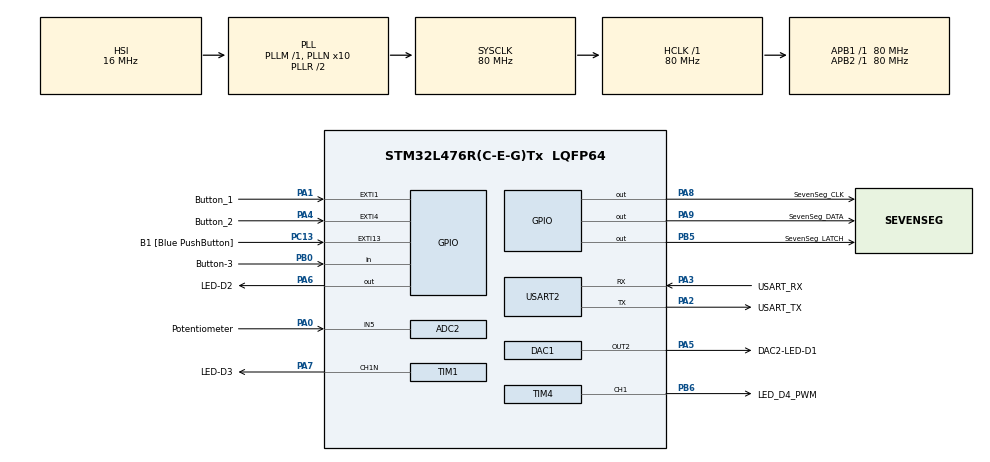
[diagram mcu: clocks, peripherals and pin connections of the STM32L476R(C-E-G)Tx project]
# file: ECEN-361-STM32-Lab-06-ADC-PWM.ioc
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ADC2.Channel-0\#ChannelRegularConversion=ADC_CHANNEL_5
ADC2.ContinuousConvMode=DISABLE
ADC2.NbrOfConversionFlag=1
ADC2.OffsetNumber-0\#ChannelRegularConversion=ADC_OFFSET_NONE
ADC2.Rank-0\#ChannelRegularConversion=1
ADC2.Resolution=ADC_RESOLUTION_6B
ADC2.SamplingTime-0\#ChannelRegularConversion=ADC_SAMPLETIME_2CYCLES_5
DAC1.DAC_Channel-DAC_OUT2=DAC_CHANNEL_2
FREERTOS.Tasks01=defaultTask,24,512,StartDefaultTask,Default,NULL,Dynamic,NULL,NULL
FREERTOS.configTOTAL_HEAP_SIZE=50000
FREERTOS.configUSE_NEWLIB_REENTRANT=1
Mcu.Family=STM32L4
Mcu.Name=STM32L476R(C-E-G)Tx
Mcu.Package=LQFP64
NVIC.EXTI15_10_IRQn=true\:5\:0\:false\:false\:true\:true\:true\:true\:true
NVIC.EXTI1_IRQn=true\:5\:0\:false\:false\:true\:true\:true\:true\:true
NVIC.EXTI4_IRQn=true\:5\:0\:false\:false\:true\:true\:true\:true\:true
NVIC.PriorityGroup=NVIC_PRIORITYGROUP_4
NVIC.TIM1_TRG_COM_TIM17_IRQn=true\:5\:0\:false\:false\:true\:true\:true\:true\:true
NVIC.TIM2_IRQn=true\:15\:0\:false\:false\:true\:false\:false\:true\:true
NVIC.TimeBase=TIM2_IRQn
NVIC.TimeBaseIP=TIM2
PA0.GPIO_Label=Potentiometer
PA0.Signal=ADCx_IN5
PA1.GPIO_Label=Button_1
PA1.GPIO_ModeDefaultEXTI=GPIO_MODE_IT_FALLING
PA1.Signal=GPXTI1
PA13\ (JTMS-SWDIO).GPIO_Label=TMS
PA13\ (JTMS-SWDIO).Mode=Serial_Wire
PA13\ (JTMS-SWDIO).Signal=SYS_JTMS-SWDIO
PA14\ (JTCK-SWCLK).GPIO_Label=TCK
PA14\ (JTCK-SWCLK).Mode=Serial_Wire
PA14\ (JTCK-SWCLK).Signal=SYS_JTCK-SWCLK
PA2.GPIO_Label=USART_TX
PA2.GPIO_Mode=GPIO_MODE_AF_PP
PA2.GPIO_PuPd=GPIO_NOPULL
PA2.GPIO_Speed=GPIO_SPEED_FREQ_VERY_HIGH
PA2.Mode=Asynchronous
PA2.Signal=USART2_TX
PA3.GPIO_Label=USART_RX
PA3.GPIO_Mode=GPIO_MODE_AF_PP
PA3.GPIO_PuPd=GPIO_NOPULL
PA3.GPIO_Speed=GPIO_SPEED_FREQ_VERY_HIGH
PA3.Mode=Asynchronous
PA3.Signal=USART2_RX
PA4.GPIO_Label=Button_2
PA4.Signal=GPXTI4
PA5.GPIO_Label=DAC2-LED-D1
PA5.Signal=COMP_DAC12_group
PA6.GPIO_Label=LED-D2
PA6.GPIO_ModeDefaultOutputPP=GPIO_MODE_OUTPUT_OD
PA6.GPIO_PuPd=GPIO_PULLUP
PA6.Signal=GPIO_Output
PA7.GPIO_Label=LED-D3
PA7.GPIO_ModeDefaultPP=GPIO_MODE_AF_OD
PA7.GPIO_PuPd=GPIO_NOPULL
PA7.GPIO_Speed=GPIO_SPEED_FREQ_VERY_HIGH
PA7.Mode=PWM Generation1 CH1N
PA7.Signal=TIM1_CH1N
PA8.GPIO_Label=SevenSeg_CLK
PA8.Signal=GPIO_Output
PA9.GPIO_Label=SevenSeg_DATA
PA9.Signal=GPIO_Output
PB0.GPIO_Label=Button-3
PB0.Signal=GPIO_Input
PB3\ (JTDO-TRACESWO).Signal=SYS_JTDO-SWO
PB5.GPIO_Label=SevenSeg_LATCH
PB5.Signal=GPIO_Output
PB6.GPIO_FM6=SYSCFG_FASTMODEPLUS_PB6
PB6.GPIO_Label=LED_D4_PWM
PB6.GPIO_ModeDefaultPP=GPIO_MODE_AF_OD
PB6.GPIO_PuPd=GPIO_NOPULL
PB6.GPIO_Speed=GPIO_SPEED_FREQ_VERY_HIGH
PB6.Signal=S_TIM4_CH1
PC1.GPIO_Label=LM35_IN
PC1.Signal=ADCx_IN2
PC13.GPIO_Label=B1 [Blue PushButton]
PC13.GPIO_ModeDefaultEXTI=GPIO_MODE_IT_FALLING
PC13.GPIO_PuPd=GPIO_NOPULL
PC13.Signal=GPXTI13
PC14-OSC32_IN\ (PC14).Mode=LSE-External-Oscillator
PC14-OSC32_IN\ (PC14).Signal=RCC_OSC32_IN
PC15-OSC32_OUT\ (PC15).Mode=LSE-External-Oscillator
PC15-OSC32_OUT\ (PC15).Signal=RCC_OSC32_OUT
PH0-OSC_IN\ (PH0).Signal=RCC_OSC_IN
PH1-OSC_OUT\ (PH1).Signal=RCC_OSC_OUT
ProjectManager.HeapSize=0x200
ProjectManager.StackSize=0x400
ProjectManager.TargetToolchain=STM32CubeIDE
RCC.ADCFreq_Value=64000000
RCC.AHBFreq_Value=80000000
RCC.APB1Freq_Value=80000000
RCC.APB1TimFreq_Value=80000000
RCC.APB2Freq_Value=80000000
RCC.APB2TimFreq_Value=80000000
RCC.CortexFreq_Value=80000000
RCC.HCLKFreq_Value=80000000
RCC.HSE_VALUE=8000000
RCC.HSI_VALUE=16000000
RCC.MSI_VALUE=4000000
RCC.PLLN=10
RCC.PLLSourceVirtual=RCC_PLLSOURCE_HSI
RCC.PREFETCH_ENABLE=1
RCC.SYSCLKFreq_VALUE=80000000
RCC.SYSCLKSource=RCC_SYSCLKSOURCE_PLLCLK
RCC.USBFreq_Value=64000000
RCC.VCOOutputFreq_Value=160000000
SH.ADCx_IN2.0=ADC1_IN2
SH.ADCx_IN5.0=ADC2_IN5,IN5-Single-Ended
SH.COMP_DAC12_group.0=DAC1_OUT2,DAC_OUT2
SH.S_TIM4_CH1.0=TIM4_CH1,PWM Generation1 CH1
TIM1.Channel-PWM\ Generation1\ CH1N=TIM_CHANNEL_1
TIM1.OCNPolarity_1=TIM_OCNPOLARITY_HIGH
TIM1.Prescaler=8
TIM1.Pulse-PWM\ Generation1\ CH1N=16000
TIM17.Period=100
TIM17.Prescaler=800-1
TIM4.Channel-PWM\ Generation1\ CH1=TIM_CHANNEL_1
TIM4.OCFastMode_PWM-PWM\ Generation1\ CH1=TIM_OCFAST_DISABLE
TIM4.OCPolarity_1=TIM_OCPOLARITY_LOW
TIM4.Period=65535
TIM4.Prescaler=8
TIM4.Pulse-PWM\ Generation1\ CH1=16000
USART2.VirtualMode-Asynchronous=VM_ASYNC
VP_FREERTOS_VS_CMSIS_V2.Mode=CMSIS_V2
VP_SYS_VS_tim2.Mode=TIM2
VP_TIM17_VS_ClockSourceINT.Mode=Enable_Timer
VP_TIM4_VS_ClockSourceINT.Mode=Internal
board=NUCLEO-L476RG

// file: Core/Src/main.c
/* USER CODE BEGIN Header */
/**
  ******************************************************************************
  * @file           : main.c
  * @brief          : Main program body
  ******************************************************************************
  * @attention
  *
  * Copyright (c) 2023 STMicroelectronics.
  * All rights reserved.
  *
  * This software is licensed under terms that can be found in the LICENSE file
  * in the root directory of this software component.
  * If no LICENSE file comes with this software, it is provided AS-IS.
  *
  ******************************************************************************
  */
/* USER CODE END Header */
#include "main.h"
#include "cmsis_os.h"

/* USER CODE BEGIN Includes */
#include "MultiFunctionShield.h"
#include <stdio.h>
#include <stdbool.h>
#include <math.h>

/* USER CODE END Includes */

ADC_HandleTypeDef hadc2;

DAC_HandleTypeDef hdac1;

TIM_HandleTypeDef htim1;
TIM_HandleTypeDef htim4;
TIM_HandleTypeDef htim17;

UART_HandleTypeDef huart2;

/* Definitions for defaultTask */
osThreadId_t defaultTaskHandle;
const osThreadAttr_t defaultTask_attributes = {
  .name = "defaultTask",
  .stack_size = 512 * 4,
  .priority = (osPriority_t) osPriorityNormal,
};
/* USER CODE BEGIN PV */

const osThreadAttr_t bigStackTask_attributes = {
  .name = "bigStackTask",
  .stack_size = 2048 * 4,
  .priority = (osPriority_t) osPriorityNormal,
};

/* Here are pointers to the tasks so I can suspend/resume */

osThreadId_t ADC_Task_Handle;
osThreadId_t DAC_Task_Handle;
osThreadId_t PWM_Task_Handle;

/* USER CODE END PV */

void SystemClock_Config(void);
static void MX_GPIO_Init(void);
static void MX_USART2_UART_Init(void);
static void MX_TIM17_Init(void);
static void MX_TIM1_Init(void);
static void MX_TIM4_Init(void);
static void MX_ADC2_Init(void);
static void MX_DAC1_Init(void);
void StartDefaultTask(void *argument);

/* USER CODE BEGIN PFP */
/* Private function prototypes -----------------------------------------------*/
#define PUTCHAR_PROTOTYPE int __io_putchar(int ch)
void D2_Task(void *argument);
void PWM_Brightness_Task(void *argument);
void Sample_Print_POT_ADC_Task();
void Do_SevenSeg_Display();
void DAC_Cycle_Task();
// void Read_and_Transmit_Task();
// void Receive_and_Print_Task();

/* USER CODE END PFP */

/* USER CODE BEGIN 0 */
/*** Globals *********/
uint8_t RX_Buffer[BUFFER_SIZE] = {0};
typedef enum {ADC_mode,PWM_mode,DAC_mode} display_modes ;
display_modes display_mode = ADC_mode;
double ADC_voltage;
int  DAC_value = 4095;	// the value written to the DAC  -- set to 12-bit
bool Tasks_Running = true;
int duty_cycle_percent = 0;

/* USER CODE END 0 */

int main(void)
{

  /* MCU Configuration--------------------------------------------------------*/

  /* Reset of all peripherals, Initializes the Flash interface and the Systick. */
  HAL_Init();

  /* USER CODE BEGIN Init */
  // HAL_GPIO_WritePin(PWM_LED_GPIO_Port, PWM_LED_Pin, 1);
  // HAL_GPIO_WritePin(LED_D3_GPIO_Port,LED_D3_Pin,0);

  /* USER CODE END Init */

  /* Configure the system clock */
  SystemClock_Config();

  /* Initialize all configured peripherals */
  MX_GPIO_Init();
  MX_USART2_UART_Init();
  MX_TIM17_Init();
  MX_TIM1_Init();
  MX_TIM4_Init();
  MX_ADC2_Init();
  MX_DAC1_Init();
  /* USER CODE BEGIN 2 */

  // Start timer
  HAL_TIM_Base_Start_IT(&htim17);							// LED SevenSeg cycle thru them
  MultiFunctionShield_Clear();								// Clear the 7-seg display
  Clear_LEDs();												// Clear the lights
  printf("\033\143");
  printf("Welcome to ECEN-361 Lab-06\n\r\n\r");
  HAL_TIM_PWM_Start(&htim4, TIM_CHANNEL_1);		// Start the Timer with the PWM Assigned.
/**
 * Note that Timer-1 Channel 1 goes to our MultiBoard D3, and it's Negative True output
 *
 */

  /* USER CODE END 2 */

  /* Init scheduler */
  osKernelInitialize();

  /* Create the thread(s) */
  /* creation of defaultTask */
  defaultTaskHandle = osThreadNew(StartDefaultTask, NULL, &defaultTask_attributes);

  /* USER CODE BEGIN RTOS_THREADS */
  /* add threads, ... */
  osThreadNew(D2_Task, "D2_Task", &defaultTask_attributes);
  PWM_Task_Handle = osThreadNew(PWM_Brightness_Task, "PWM_Task", &defaultTask_attributes);
  ADC_Task_Handle = osThreadNew(Sample_Print_POT_ADC_Task, "ADC_Task", &bigStackTask_attributes);
  DAC_Task_Handle = osThreadNew(DAC_Cycle_Task, "DAC_Task", &defaultTask_attributes);
  osThreadNew(Do_SevenSeg_Display, "Display_Task", &defaultTask_attributes);

  /* USER CODE END RTOS_THREADS */

  /* Start scheduler */
  osKernelStart();

  /* We should never get here as control is now taken by the scheduler */

  /* Infinite loop */
  while (1)
  {

    /* USER CODE BEGIN 3 */
    // Read_and_Transmit_Task();

	// osDelay(500);
	/*
	HAL_GPIO_WritePin(SPI1_NSS_GPIO_Port, SPI1_NSS_Pin, 0);
	osDelay(5); // wait a bit before transmitting so the process can start the read
	HAL_SPI_Transmit(&hspi1, RX_Buffer, BUFFER_SIZE , HAL_MAX_DELAY);
	osDelay(5); // wait a bit before transmitting so the process can start the read
	HAL_GPIO_WritePin(SPI1_NSS_GPIO_Port, SPI1_NSS_Pin, 1);
	*/

	// Sample_Print_POT_ADC_Task();

		}

  /* USER CODE END 3 */
}

void SystemClock_Config(void)
{
  RCC_OscInitTypeDef RCC_OscInitStruct = {0};
  RCC_ClkInitTypeDef RCC_ClkInitStruct = {0};

  /** Configure the main internal regulator output voltage
  */
  if (HAL_PWREx_ControlVoltageScaling(PWR_REGULATOR_VOLTAGE_SCALE1) != HAL_OK)
  {
    Error_Handler();
  }

  /** Initializes the RCC Oscillators according to the specified parameters
  * in the RCC_OscInitTypeDef structure.
  */
  RCC_OscInitStruct.OscillatorType = RCC_OSCILLATORTYPE_HSI;
  RCC_OscInitStruct.HSIState = RCC_HSI_ON;
  RCC_OscInitStruct.HSICalibrationValue = RCC_HSICALIBRATION_DEFAULT;
  RCC_OscInitStruct.PLL.PLLState = RCC_PLL_ON;
  RCC_OscInitStruct.PLL.PLLSource = RCC_PLLSOURCE_HSI;
  RCC_OscInitStruct.PLL.PLLM = 1;
  RCC_OscInitStruct.PLL.PLLN = 10;
  RCC_OscInitStruct.PLL.PLLP = RCC_PLLP_DIV7;
  RCC_OscInitStruct.PLL.PLLQ = RCC_PLLQ_DIV2;
  RCC_OscInitStruct.PLL.PLLR = RCC_PLLR_DIV2;
  if (HAL_RCC_OscConfig(&RCC_OscInitStruct) != HAL_OK)
  {
    Error_Handler();
  }

  /** Initializes the CPU, AHB and APB buses clocks
  */
  RCC_ClkInitStruct.ClockType = RCC_CLOCKTYPE_HCLK|RCC_CLOCKTYPE_SYSCLK
                              |RCC_CLOCKTYPE_PCLK1|RCC_CLOCKTYPE_PCLK2;
  RCC_ClkInitStruct.SYSCLKSource = RCC_SYSCLKSOURCE_PLLCLK;
  RCC_ClkInitStruct.AHBCLKDivider = RCC_SYSCLK_DIV1;
  RCC_ClkInitStruct.APB1CLKDivider = RCC_HCLK_DIV1;
  RCC_ClkInitStruct.APB2CLKDivider = RCC_HCLK_DIV1;

  if (HAL_RCC_ClockConfig(&RCC_ClkInitStruct, FLASH_LATENCY_4) != HAL_OK)
  {
    Error_Handler();
  }
}

static void MX_ADC2_Init(void)
{

  ADC_ChannelConfTypeDef sConfig = {0};

  /** Common config
  */
  hadc2.Instance = ADC2;
  hadc2.Init.ClockPrescaler = ADC_CLOCK_ASYNC_DIV1;
  hadc2.Init.Resolution = ADC_RESOLUTION_6B;
  hadc2.Init.DataAlign = ADC_DATAALIGN_RIGHT;
  hadc2.Init.ScanConvMode = ADC_SCAN_DISABLE;
  hadc2.Init.EOCSelection = ADC_EOC_SINGLE_CONV;
  hadc2.Init.LowPowerAutoWait = DISABLE;
  hadc2.Init.ContinuousConvMode = DISABLE;
  hadc2.Init.NbrOfConversion = 1;
  hadc2.Init.DiscontinuousConvMode = DISABLE;
  hadc2.Init.ExternalTrigConv = ADC_SOFTWARE_START;
  hadc2.Init.ExternalTrigConvEdge = ADC_EXTERNALTRIGCONVEDGE_NONE;
  hadc2.Init.DMAContinuousRequests = DISABLE;
  hadc2.Init.Overrun = ADC_OVR_DATA_PRESERVED;
  hadc2.Init.OversamplingMode = DISABLE;
  if (HAL_ADC_Init(&hadc2) != HAL_OK)
  {
    Error_Handler();
  }

  /** Configure Regular Channel
  */
  sConfig.Channel = ADC_CHANNEL_5;
  sConfig.Rank = ADC_REGULAR_RANK_1;
  sConfig.SamplingTime = ADC_SAMPLETIME_2CYCLES_5;
  sConfig.SingleDiff = ADC_SINGLE_ENDED;
  sConfig.OffsetNumber = ADC_OFFSET_NONE;
  sConfig.Offset = 0;
  if (HAL_ADC_ConfigChannel(&hadc2, &sConfig) != HAL_OK)
  {
    Error_Handler();
  }

}

static void MX_DAC1_Init(void)
{

  DAC_ChannelConfTypeDef sConfig = {0};

  /** DAC Initialization
  */
  hdac1.Instance = DAC1;
  if (HAL_DAC_Init(&hdac1) != HAL_OK)
  {
    Error_Handler();
  }

  /** DAC channel OUT2 config
  */
  sConfig.DAC_SampleAndHold = DAC_SAMPLEANDHOLD_DISABLE;
  sConfig.DAC_Trigger = DAC_TRIGGER_NONE;
  sConfig.DAC_OutputBuffer = DAC_OUTPUTBUFFER_ENABLE;
  sConfig.DAC_ConnectOnChipPeripheral = DAC_CHIPCONNECT_DISABLE;
  sConfig.DAC_UserTrimming = DAC_TRIMMING_FACTORY;
  if (HAL_DAC_ConfigChannel(&hdac1, &sConfig, DAC_CHANNEL_2) != HAL_OK)
  {
    Error_Handler();
  }

}

static void MX_TIM1_Init(void)
{

  TIM_MasterConfigTypeDef sMasterConfig = {0};
  TIM_OC_InitTypeDef sConfigOC = {0};
  TIM_BreakDeadTimeConfigTypeDef sBreakDeadTimeConfig = {0};

  htim1.Instance = TIM1;
  htim1.Init.Prescaler = 8;
  htim1.Init.CounterMode = TIM_COUNTERMODE_UP;
  htim1.Init.Period = 65535;
  htim1.Init.ClockDivision = TIM_CLOCKDIVISION_DIV1;
  htim1.Init.RepetitionCounter = 0;
  htim1.Init.AutoReloadPreload = TIM_AUTORELOAD_PRELOAD_DISABLE;
  if (HAL_TIM_PWM_Init(&htim1) != HAL_OK)
  {
    Error_Handler();
  }
  sMasterConfig.MasterOutputTrigger = TIM_TRGO_RESET;
  sMasterConfig.MasterOutputTrigger2 = TIM_TRGO2_RESET;
  sMasterConfig.MasterSlaveMode = TIM_MASTERSLAVEMODE_DISABLE;
  if (HAL_TIMEx_MasterConfigSynchronization(&htim1, &sMasterConfig) != HAL_OK)
  {
    Error_Handler();
  }
  sConfigOC.OCMode = TIM_OCMODE_PWM1;
  sConfigOC.Pulse = 16000;
  sConfigOC.OCPolarity = TIM_OCPOLARITY_HIGH;
  sConfigOC.OCNPolarity = TIM_OCNPOLARITY_HIGH;
  sConfigOC.OCFastMode = TIM_OCFAST_DISABLE;
  sConfigOC.OCIdleState = TIM_OCIDLESTATE_RESET;
  sConfigOC.OCNIdleState = TIM_OCNIDLESTATE_RESET;
  if (HAL_TIM_PWM_ConfigChannel(&htim1, &sConfigOC, TIM_CHANNEL_1) != HAL_OK)
  {
    Error_Handler();
  }
  sBreakDeadTimeConfig.OffStateRunMode = TIM_OSSR_DISABLE;
  sBreakDeadTimeConfig.OffStateIDLEMode = TIM_OSSI_DISABLE;
  sBreakDeadTimeConfig.LockLevel = TIM_LOCKLEVEL_OFF;
  sBreakDeadTimeConfig.DeadTime = 0;
  sBreakDeadTimeConfig.BreakState = TIM_BREAK_DISABLE;
  sBreakDeadTimeConfig.BreakPolarity = TIM_BREAKPOLARITY_HIGH;
  sBreakDeadTimeConfig.BreakFilter = 0;
  sBreakDeadTimeConfig.Break2State = TIM_BREAK2_DISABLE;
  sBreakDeadTimeConfig.Break2Polarity = TIM_BREAK2POLARITY_HIGH;
  sBreakDeadTimeConfig.Break2Filter = 0;
  sBreakDeadTimeConfig.AutomaticOutput = TIM_AUTOMATICOUTPUT_DISABLE;
  if (HAL_TIMEx_ConfigBreakDeadTime(&htim1, &sBreakDeadTimeConfig) != HAL_OK)
  {
    Error_Handler();
  }
  HAL_TIM_MspPostInit(&htim1);

}

static void MX_TIM4_Init(void)
{

  TIM_ClockConfigTypeDef sClockSourceConfig = {0};
  TIM_MasterConfigTypeDef sMasterConfig = {0};
  TIM_OC_InitTypeDef sConfigOC = {0};

  htim4.Instance = TIM4;
  htim4.Init.Prescaler = 8;
  htim4.Init.CounterMode = TIM_COUNTERMODE_UP;
  htim4.Init.Period = 65535;
  htim4.Init.ClockDivision = TIM_CLOCKDIVISION_DIV1;
  htim4.Init.AutoReloadPreload = TIM_AUTORELOAD_PRELOAD_DISABLE;
  if (HAL_TIM_Base_Init(&htim4) != HAL_OK)
  {
    Error_Handler();
  }
  sClockSourceConfig.ClockSource = TIM_CLOCKSOURCE_INTERNAL;
  if (HAL_TIM_ConfigClockSource(&htim4, &sClockSourceConfig) != HAL_OK)
  {
    Error_Handler();
  }
  if (HAL_TIM_PWM_Init(&htim4) != HAL_OK)
  {
    Error_Handler();
  }
  sMasterConfig.MasterOutputTrigger = TIM_TRGO_RESET;
  sMasterConfig.MasterSlaveMode = TIM_MASTERSLAVEMODE_DISABLE;
  if (HAL_TIMEx_MasterConfigSynchronization(&htim4, &sMasterConfig) != HAL_OK)
  {
    Error_Handler();
  }
  sConfigOC.OCMode = TIM_OCMODE_PWM1;
  sConfigOC.Pulse = 16000;
  sConfigOC.OCPolarity = TIM_OCPOLARITY_LOW;
  sConfigOC.OCFastMode = TIM_OCFAST_DISABLE;
  if (HAL_TIM_PWM_ConfigChannel(&htim4, &sConfigOC, TIM_CHANNEL_1) != HAL_OK)
  {
    Error_Handler();
  }
  HAL_TIM_MspPostInit(&htim4);

}

static void MX_TIM17_Init(void)
{

  htim17.Instance = TIM17;
  htim17.Init.Prescaler = 800-1;
  htim17.Init.CounterMode = TIM_COUNTERMODE_UP;
  htim17.Init.Period = 100;
  htim17.Init.ClockDivision = TIM_CLOCKDIVISION_DIV1;
  htim17.Init.RepetitionCounter = 0;
  htim17.Init.AutoReloadPreload = TIM_AUTORELOAD_PRELOAD_DISABLE;
  if (HAL_TIM_Base_Init(&htim17) != HAL_OK)
  {
    Error_Handler();
  }

}

static void MX_USART2_UART_Init(void)
{

  huart2.Instance = USART2;
  huart2.Init.BaudRate = 115200;
  huart2.Init.WordLength = UART_WORDLENGTH_8B;
  huart2.Init.StopBits = UART_STOPBITS_1;
  huart2.Init.Parity = UART_PARITY_NONE;
  huart2.Init.Mode = UART_MODE_TX_RX;
  huart2.Init.HwFlowCtl = UART_HWCONTROL_NONE;
  huart2.Init.OverSampling = UART_OVERSAMPLING_16;
  huart2.Init.OneBitSampling = UART_ONE_BIT_SAMPLE_DISABLE;
  huart2.AdvancedInit.AdvFeatureInit = UART_ADVFEATURE_NO_INIT;
  if (HAL_UART_Init(&huart2) != HAL_OK)
  {
    Error_Handler();
  }

}

static void MX_GPIO_Init(void)
{
  GPIO_InitTypeDef GPIO_InitStruct = {0};

  /* GPIO Ports Clock Enable */
  __HAL_RCC_GPIOC_CLK_ENABLE();
  __HAL_RCC_GPIOH_CLK_ENABLE();
  __HAL_RCC_GPIOA_CLK_ENABLE();
  __HAL_RCC_GPIOB_CLK_ENABLE();

  /*Configure GPIO pin Output Level */
  HAL_GPIO_WritePin(GPIOA, LED_D2_Pin|SevenSeg_CLK_Pin|SevenSeg_DATA_Pin, GPIO_PIN_RESET);

  /*Configure GPIO pin Output Level */
  HAL_GPIO_WritePin(SevenSeg_LATCH_GPIO_Port, SevenSeg_LATCH_Pin, GPIO_PIN_RESET);

  /*Configure GPIO pin : B1_Pin */
  GPIO_InitStruct.Pin = B1_Pin;
  GPIO_InitStruct.Mode = GPIO_MODE_IT_FALLING;
  GPIO_InitStruct.Pull = GPIO_NOPULL;
  HAL_GPIO_Init(B1_GPIO_Port, &GPIO_InitStruct);

  /*Configure GPIO pin : LM35_IN_Pin */
  GPIO_InitStruct.Pin = LM35_IN_Pin;
  GPIO_InitStruct.Mode = GPIO_MODE_ANALOG_ADC_CONTROL;
  GPIO_InitStruct.Pull = GPIO_NOPULL;
  HAL_GPIO_Init(LM35_IN_GPIO_Port, &GPIO_InitStruct);

  /*Configure GPIO pin : Button_1_Pin */
  GPIO_InitStruct.Pin = Button_1_Pin;
  GPIO_InitStruct.Mode = GPIO_MODE_IT_FALLING;
  GPIO_InitStruct.Pull = GPIO_NOPULL;
  HAL_GPIO_Init(Button_1_GPIO_Port, &GPIO_InitStruct);

  /*Configure GPIO pin : Button_2_Pin */
  GPIO_InitStruct.Pin = Button_2_Pin;
  GPIO_InitStruct.Mode = GPIO_MODE_IT_RISING;
  GPIO_InitStruct.Pull = GPIO_NOPULL;
  HAL_GPIO_Init(Button_2_GPIO_Port, &GPIO_InitStruct);

  /*Configure GPIO pin : LED_D2_Pin */
  GPIO_InitStruct.Pin = LED_D2_Pin;
  GPIO_InitStruct.Mode = GPIO_MODE_OUTPUT_OD;
  GPIO_InitStruct.Pull = GPIO_PULLUP;
  GPIO_InitStruct.Speed = GPIO_SPEED_FREQ_LOW;
  HAL_GPIO_Init(LED_D2_GPIO_Port, &GPIO_InitStruct);

  /*Configure GPIO pin : Button_3_Pin */
  GPIO_InitStruct.Pin = Button_3_Pin;
  GPIO_InitStruct.Mode = GPIO_MODE_INPUT;
  GPIO_InitStruct.Pull = GPIO_NOPULL;
  HAL_GPIO_Init(Button_3_GPIO_Port, &GPIO_InitStruct);

  /*Configure GPIO pins : SevenSeg_CLK_Pin SevenSeg_DATA_Pin */
  GPIO_InitStruct.Pin = SevenSeg_CLK_Pin|SevenSeg_DATA_Pin;
  GPIO_InitStruct.Mode = GPIO_MODE_OUTPUT_PP;
  GPIO_InitStruct.Pull = GPIO_NOPULL;
  GPIO_InitStruct.Speed = GPIO_SPEED_FREQ_LOW;
  HAL_GPIO_Init(GPIOA, &GPIO_InitStruct);

  /*Configure GPIO pin : SevenSeg_LATCH_Pin */
  GPIO_InitStruct.Pin = SevenSeg_LATCH_Pin;
  GPIO_InitStruct.Mode = GPIO_MODE_OUTPUT_PP;
  GPIO_InitStruct.Pull = GPIO_NOPULL;
  GPIO_InitStruct.Speed = GPIO_SPEED_FREQ_LOW;
  HAL_GPIO_Init(SevenSeg_LATCH_GPIO_Port, &GPIO_InitStruct);

  /* EXTI interrupt init*/
  HAL_NVIC_SetPriority(EXTI1_IRQn, 5, 0);
  HAL_NVIC_EnableIRQ(EXTI1_IRQn);

  HAL_NVIC_SetPriority(EXTI4_IRQn, 5, 0);
  HAL_NVIC_EnableIRQ(EXTI4_IRQn);

  HAL_NVIC_SetPriority(EXTI15_10_IRQn, 5, 0);
  HAL_NVIC_EnableIRQ(EXTI15_10_IRQn);

}

/* USER CODE BEGIN 4 */

/************  Task-Creation-Part-B *****************/
void D2_Task(void *argument)
	{ while(true)
		{
		  while(!Tasks_Running)
			  {

			  HAL_GPIO_TogglePin(LED_D2_GPIO_Port,LED_D2_Pin);
			  osDelay(500);
			  }
			  HAL_GPIO_WritePin(LED_D2_GPIO_Port,LED_D2_Pin,1);
			  osDelay(5);
		}
	}

void DAC_Cycle_Task()
	{
	int increment =  100;
	int  up = increment;
	int  down = -1 * increment;
	int  inc = down;  //Start by going down

	/*
	 * This task will just change the output voltage on the DAC in a periodic fashion
	 * Remember the light is negative true output, so a DAC_value of 0: brightest value
	 * */

	while (true)
		{
		while (Tasks_Running)
			{
			DAC_value = DAC_value + inc;
			if (DAC_value <= 0 )
				{
				DAC_value = 0;
				inc = up;
				}
			if (DAC_value >= 4096)
				{
				DAC_value = 4000;
				inc = down;
				}
			HAL_DAC_SetValue(&hdac1, DAC_CHANNEL_2, DAC_ALIGN_12B_R, (DAC_value & 0xfff));
			// printf("DAC Value is: %i \n\r",DAC_value);
			osDelay(300);
			}
		}
	}

void Sample_Print_POT_ADC_Task()
	{
	uint16_t current_sample = 1000;
	float max_reference_voltage = 5.0;
	// After the .IOC migration, the following didn't work.  It has been replaced
	// with the switch() statement below to get the bits/sample as configured by the GUI'

	//int bits_per_sample = (((ADC2->CFGR && 0xc)>>2) * 2) + 6;	// ADC config register [3:2] defines 6,8,10, or 12-bit resolution

	int bits_per_sample = 6;

	// Get the resolution from the structure that was built by the .ioc

	switch(hadc2.Init.Resolution)
		{
		case ADC_RESOLUTION_12B: {bits_per_sample = 12;} break;
		case ADC_RESOLUTION_10B: {bits_per_sample = 10;} break;
		case ADC_RESOLUTION_8B: {bits_per_sample = 8;} break;
		case ADC_RESOLUTION_6B: {bits_per_sample = 6;} break;
		}

	int samples = 1 << bits_per_sample;		//power of 2

	while(true)
		{
		current_sample = Poll_POT_ADC_Value();
		ADC_voltage = ((double)current_sample/(double)samples * max_reference_voltage);
		osDelay(1000);
		}
	}

void PWM_Brightness_Task(void *arguments)
	{
		int percent_per_step = 5;
		// int full_count =  TIM15->ARR;		//Get the top range from what's set in the init.
		int full_count =  TIM4->ARR;		//Get the top range from what's set in the init.
		bool count_up = true;
		uint16_t ccr1 = 0;
		while(true)
		{
			while (Tasks_Running)
				{
				ccr1 = (uint16_t) duty_cycle_percent * full_count / 100;
				//TIM15->CCR1 = ccr1;		// This is the limit that turns on the PWM
				TIM4->CCR1 = ccr1;		// This is the limit that turns on the PWM
				if (count_up)
					{
					duty_cycle_percent += percent_per_step;
					if (duty_cycle_percent >=100) count_up = false;
					} else
					{
					duty_cycle_percent -= percent_per_step;
					if (duty_cycle_percent <=0) count_up = true;
					}
				osDelay(100);
				}
		}
	}

void Read_and_Transmit_Task()
	{
	uint8_t receive_byte;
	// uint8_t receive_buffer[BUFFER_SIZE] = {0};
	// uint8_t *receive_buffer_ptr = receive_buffer;
	uint8_t bytes_in =0;
	uint8_t xmitmsg[] = "\n\rInput Line to Send ->";
	uint8_t sndmsg[] = "\n\rSending -> ";
	uint8_t *xmitmsg_ptr = xmitmsg;
	uint8_t *sndmsg_ptr = sndmsg;

		bytes_in = 0;
		receive_byte = 0;
		HAL_UART_Transmit(&huart2, xmitmsg_ptr, 23, HAL_MAX_DELAY);

		/* This task reads a line from the Serial/USB port and
		 * transmits out thru SPI
		 * Note that this is polling!  One byte at a time.  Very inefficient
		 */
		while (receive_byte != '\r')
		{
			while (HAL_UART_Receive(&huart2, &receive_byte, 1,10) != HAL_OK) osDelay(1);
			/* Now we have a byte, if it's a carriage return, send the string
			 * If not, put it on the buffer
			 */
			RX_Buffer[bytes_in] = receive_byte;
			HAL_UART_Transmit(&huart2, &RX_Buffer[bytes_in++] , 1, HAL_MAX_DELAY);  //echo each one as it's typed
		}

		RX_Buffer[bytes_in++] = '\n'; // Add a line_feed
		// Tell the User what we got and what we're sending
		HAL_UART_Transmit(&huart2, sndmsg_ptr, 13, HAL_MAX_DELAY);
		//HAL_UART_Transmit(&huart2, receive_buffer_ptr, bytes_in, HAL_MAX_DELAY);
		HAL_UART_Transmit(&huart2, RX_Buffer, bytes_in, HAL_MAX_DELAY);
		// Now send it from the SPI Master (SPI_1) -> SPI Slave (SPI_2)
		// Turn on the ChipEnable (SPI1_NSS -- active low)
		}

/**
  * @brief  Retargets the C library printf function to the USART.
  * @param  None
  * @retval None
  */
PUTCHAR_PROTOTYPE
{
  /* Place your implementation of fputc here */
  /* e.g. write a character to the USART1 and Loop until the end of transmission */
  HAL_UART_Transmit(&huart2, (uint8_t *)&ch, 1, 0xFFFF);

  return ch;
}

void Do_SevenSeg_Display()
	{ /* Just cycle thru the modes when there's a button push */
	while (true)
		{
		switch (display_mode)
			{
			case ADC_mode:
				disp_adc_on_7seg(ADC_voltage);
				break;
			case PWM_mode:
				// Show the duty cycle percentage
			    MultiFunctionShield_Display_PWM(duty_cycle_percent);
				break;
			case DAC_mode:
			    MultiFunctionShield_Display(DAC_value);
				break;
			}
		osDelay(20);
		}
	}

void HAL_GPIO_EXTI_Callback(uint16_t GPIO_Pin)
	{
	// All three buttons generate GPIO  interrupts
	switch(GPIO_Pin)
	{
	case Button_1_Pin:
		/* Button_1 is the Display Mode switcher.  See the lab description */
		switch (display_mode)
		{
		case ADC_mode:
			display_mode = PWM_mode;
			break;
		case PWM_mode:
			display_mode = DAC_mode;
			break;
		case DAC_mode:
			display_mode = ADC_mode;
			break;
		default: __NOP();
		}
		break;
	case Button_2_Pin:
		/* Button_2 is the Start/Stop Button. */
			Tasks_Running = !Tasks_Running;
		/* If we just went into stop mode, then display some info */
		if (!Tasks_Running)
			{
			printf("STOPPED  D2 Blinking\n\r   PWM  Value: %%%d\n\r   CCRL Value: %d\n\r",
				duty_cycle_percent,
				((uint16_t) TIM4->ARR / 100 * duty_cycle_percent ));
				// ccr1 = (uint16_t) duty_cycle_percent * full_count / 100;
			printf("   DAC 12-bit :0x%x\n\r",DAC_value);
			} else
			printf("RE-STARTING\n\r\r");
		break;
	case Button_3_Pin:
		break;
	default: __NOP();
	HAL_Delay(70);  //* Time to make sure the switch is debounced
	}
}

/* USER CODE END 4 */

void StartDefaultTask(void *argument)
{
  for(;;)
  {
    osDelay(1);
  }
}

void HAL_TIM_PeriodElapsedCallback(TIM_HandleTypeDef *htim)
{
  /* USER CODE BEGIN Callback 0 */
	  if (htim == &htim17 ) { MultiFunctionShield__ISRFunc(); }
  /* USER CODE END Callback 0 */
  if (htim->Instance == TIM2) {
    HAL_IncTick();
  }
  /* USER CODE BEGIN Callback 1 */
}

uint16_t Poll_POT_ADC_Value(void)
	{
	uint16_t  ADC_Result;
	// Start ADC Conversion of the 10K potentiometer
	MX_ADC2_Init();
	HAL_ADC_Start(&hadc2);
	HAL_DAC_Start(&hdac1, DAC_CHANNEL_2);

	// The conversion should be less than a millisec
	// so it'll be done while we're waiting for the next number to show
	osDelay(10);

   // Poll ADC2 Perihperal & TimeOut = 1mSec
	HAL_ADC_PollForConversion(&hadc2, HAL_MAX_DELAY);
   // Read The ADC Conversion Result & Map It To PWM DutyCycle
	ADC_Result = HAL_ADC_GetValue(&hadc2);
	return ADC_Result;

  /* USER CODE END Callback 1 */
}

void Error_Handler(void)
{
  __disable_irq();
  while (1)
  {
  }
}
